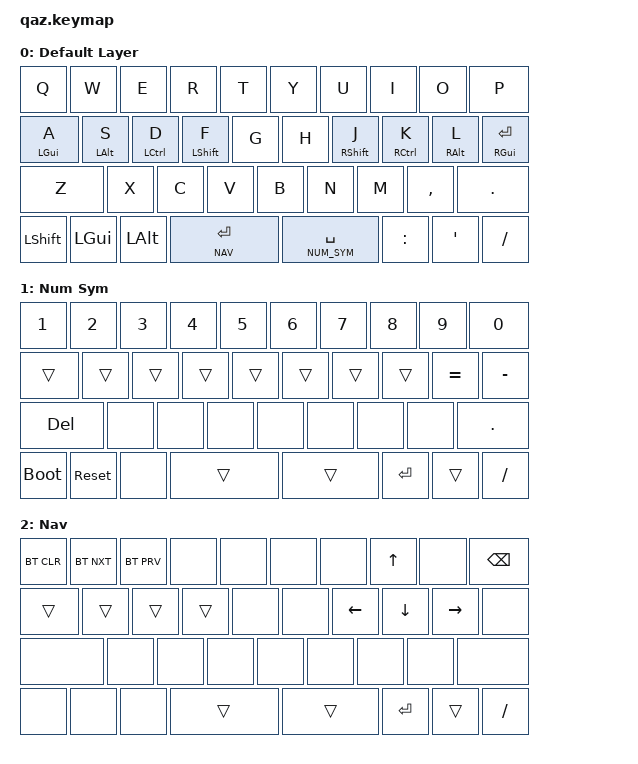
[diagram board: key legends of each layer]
/*
 * Copyright (c) 2020 The ZMK Contributors
 *
 * SPDX-License-Identifier: MIT
 */

#include <behaviors.dtsi>
#include <dt-bindings/zmk/keys.h>
#include <dt-bindings/zmk/bt.h>

#define DEFAULT 0
#define NUM_SYM 1
#define NAV     2

/ {
    behaviors {
        hm: homerow_mods {
            compatible = "zmk,behavior-hold-tap";
            #binding-cells = <2>;
            tapping-term-ms = <225>;
            flavor = "tap-preferred";
            bindings = <&kp>, <&kp>;
        };
    };
};

/ {
    keymap {
        compatible = "zmk,keymap";

        default_layer {
            display-name = "Default Layer";
            bindings = <
    &kp Q      &kp W      &kp E       &kp R       &kp T  &kp Y  &kp U       &kp I       &kp O      &kp P
    &hm LGUI A &hm LALT S &hm LCTRL D &hm LSHFT F &kp G  &kp H  &hm RSHFT J &hm RCTRL K &hm RALT L &hm RGUI RET
    &kp Z                 &kp X       &kp C       &kp V  &kp B  &kp N       &kp M       &kp COMMA  &kp DOT
    &kp LSHFT  &kp LGUI   &kp LALT       &lt NAV RET    &lt NUM_SYM SPACE   &kp COLON   &kp SQT    &kp FSLH
            >;
        };
        num_sym {
            display-name = "Num Sym";
            bindings = <
    &kp N1     &kp N2     &kp N3     &kp N4     &kp N5 &kp N6 &kp N7     &kp N8      &kp N9    &kp N0
    &trans     &trans     &trans     &trans     &trans &trans &trans     &trans      &kp EQUAL &kp MINUS
    &kp DEL               &none      &none      &none  &none  &none      &none       &none     &kp DOT
    &bootloader &sys_reset    &none         &trans        &trans             &kp RET     &trans    &kp FSLH
            >;
        };

    nav {
            display-name = "Nav";
            bindings = <
    &bt BT_CLR &bt BT_NXT &bt BT_PRV &none       &none &none &none       &kp UP       &none     &kp BSPC
    &trans     &trans     &trans     &trans      &none &none &kp LEFT    &kp DOWN     &kp RIGHT &none
    &none                 &none      &none       &none &none &none       &none        &none     &none
    &none      &none      &none         &trans        &trans             &kp RET      &trans    &kp FSLH
            >;
        };
    };
};
